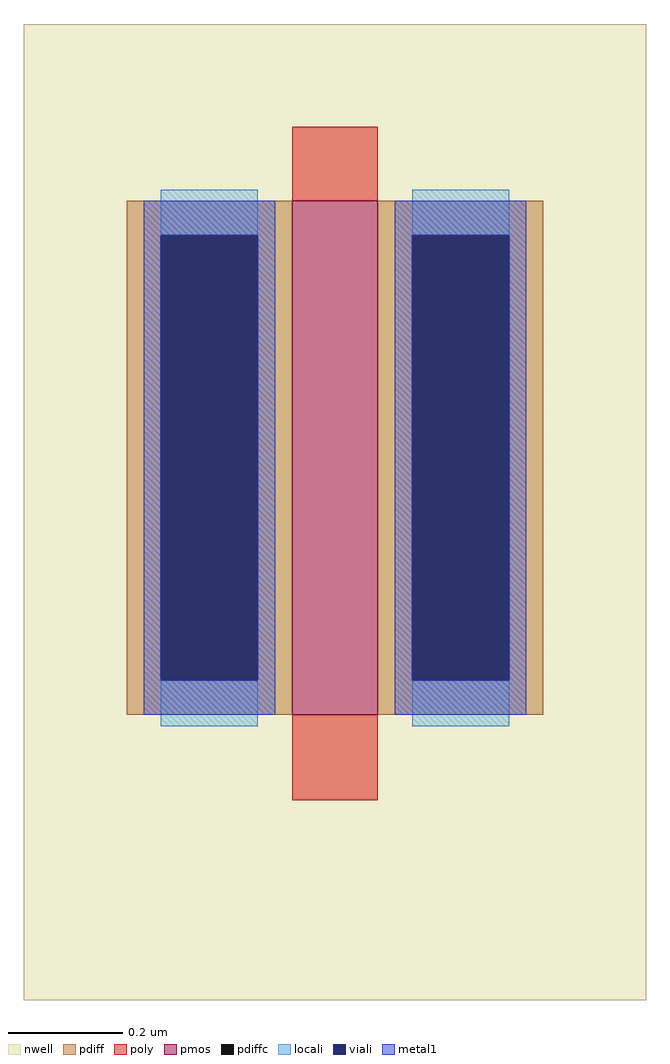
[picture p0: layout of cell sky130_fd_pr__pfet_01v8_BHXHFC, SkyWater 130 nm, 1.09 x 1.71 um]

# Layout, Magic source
magic
tech sky130A
magscale 1 2
<< nwell >>
rect -109 -154 109 188
<< pmos >>
rect -15 -54 15 126
<< pdiff >>
rect -73 114 -15 126
rect -73 -42 -61 114
rect -27 -42 -15 114
rect -73 -54 -15 -42
rect 15 114 73 126
rect 15 -42 27 114
rect 61 -42 73 114
rect 15 -54 73 -42
<< pdiffc >>
rect -61 -42 -27 114
rect 27 -42 61 114
<< poly >>
rect -15 126 15 152
rect -15 -84 15 -54
<< locali >>
rect -61 114 -27 130
rect -61 -58 -27 -42
rect 27 114 61 130
rect 27 -58 61 -42
<< viali >>
rect -61 -42 -27 114
rect 27 -42 61 114
<< metal1 >>
rect -67 114 -21 126
rect -67 -42 -61 114
rect -27 -42 -21 114
rect -67 -54 -21 -42
rect 21 114 67 126
rect 21 -42 27 114
rect 61 -42 67 114
rect 21 -54 67 -42
<< properties >>
string gencell sky130_fd_pr__pfet_01v8
string parameters w 0.9 l 0.15 m 1 nf 1 diffcov 100 polycov 100 guard 0 glc 0 grc 0 gtc 0 gbc 0 tbcov 100 rlcov 100 topc 0 botc 1 poverlap 0 doverlap 1 lmin 0.15 wmin 0.42 compatible {sky130_fd_pr__pfet_01v8  sky130_fd_pr__pfet_01v8_lvt sky130_fd_pr__pfet_01v8_hvt  sky130_fd_pr__pfet_g5v0d10v5} full_metal 0 viasrc 100 viadrn 100 viagate 100 viagb 0 viagr 0 viagl 0 viagt 0
string library sky130
<< end >>
